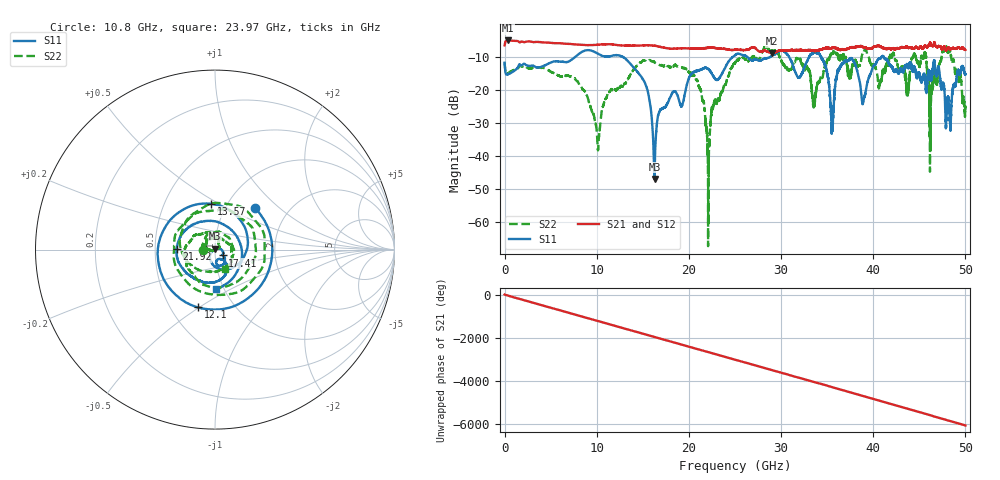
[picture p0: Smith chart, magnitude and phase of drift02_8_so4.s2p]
!Created with skrf (http://scikit-rf.org).
# Hz S RI R 50.0
!freq ReS11 ImS11 ReS21 ImS21 ReS12 ImS12 ReS22 ImS22
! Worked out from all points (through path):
!   10001 points, 300 kHz to 50 GHz, reference 50 ohm
!   highest |S21| = -5.04 dB at 325.3 MHz (marker M1); lowest = -8.9 dB at 28.98 GHz (marker M2)
!   group delay of S21, straight-line fit = 336 ps
!   lowest |S11| = -47.0 dB at 16.27 GHz (marker M3), VSWR 1.01, Z = 50 + j0.445 ohm
!   |S11| at or under -10 dB: start of sweep to 7.668 GHz; 12.81 GHz to 24.78 GHz (11.96 GHz wide, 63.6 % of centre); 41.12 GHz to end of sweep (the widest 3 of 13)
!   |S22| runs from -67.4 to -6.8 dB; largest |S21 - S12| = 0.03
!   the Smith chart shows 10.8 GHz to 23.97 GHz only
!   S11 on the Smith chart (normalised r, x): 10.8 GHz: 1.36, +0.70; 12.1 GHz: 0.68, -0.50; 13.57 GHz: 0.84, +0.46; 17.41 GHz: 1.09, -0.07; 21.92 GHz: 0.65, +0.00; 23.97 GHz: 0.92, -0.43
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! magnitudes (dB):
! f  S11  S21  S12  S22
! 300 kHz  -11.8  -6.5  -6.5  -11.7
! 325.3 MHz  -15.3  -5.0  -5.0  -15.1
! 8.335 GHz  -8.6  -6.4  -6.4  -19.2
! 10.11 GHz  -9.0  -6.4  -6.3  -37.7
! 10.8 GHz  -9.9  -6.2  -6.2  -23.8
! 12.1 GHz  -9.5  -6.4  -6.4  -20.2
! 13.57 GHz  -11.8  -6.6  -6.6  -15.9
! 16.27 GHz  -47.0  -6.7  -6.7  -11.7
! 16.67 GHz  -27.6  -6.8  -6.8  -12.2
! 17.41 GHz  -25.3  -7.3  -7.3  -12.5
! 20.75 GHz  -14.3  -7.5  -7.5  -16.9
! 21.92 GHz  -13.4  -7.3  -7.3  -32.2
! 23.97 GHz  -13.1  -7.6  -7.7  -18.4
! 25 GHz  -9.6  -7.9  -7.9  -11.8
! 28.98 GHz  -9.8  -8.9  -8.8  -8.1
! 33.34 GHz  -9.2  -8.0  -8.0  -20.2
! 35.55 GHz  -32.1  -7.3  -7.3  -9.1
! 36.78 GHz  -11.9  -7.9  -7.9  -9.7
! 41.67 GHz  -12.0  -7.4  -7.5  -11.9
! 46.25 GHz  -17.3  -6.1  -6.1  -21.2
! 48.12 GHz  -22.4  -7.2  -7.2  -8.6
! 50 GHz  -15.2  -7.9  -8.0  -25.6
